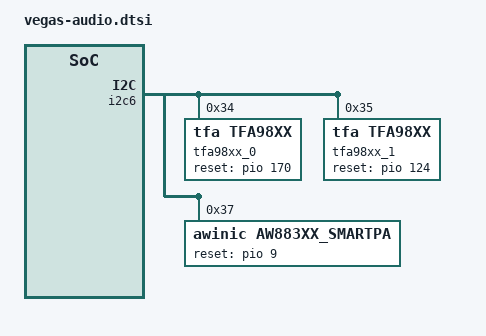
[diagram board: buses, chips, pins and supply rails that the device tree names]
/*
 * Copyright (c) 2019 MediaTek Inc.
 *
 * This program is free software; you can redistribute it and/or modify
 * it under the terms of the GNU General Public License version 2 as
 * published by the Free Software Foundation.
 *
 * This program is distributed in the hope that it will be useful,
 * but WITHOUT ANY WARRANTY; without even the implied warranty of
 * MERCHANTABILITY or FITNESS FOR A PARTICULAR PURPOSE.  See the
 * GNU General Public License for more details.
 */
&i2c6 {
	status = "ok";
	tfa98xx_0: tfa98xx@34 {
		compatible = "tfa,tfa98xx";
		reg = <0x34>;
		reset-gpio = <&pio 170 0>;
		reset-polarity = <1>;
	};
	tfa98xx_1: tfa98xx@35 {
		compatible = "tfa,tfa98xx";
		reg = <0x35>;
		reset-gpio = <&pio 124 0>;
		reset-polarity = <1>;
	};
	aw883xx_smartpa: aw883xx_smartpa@37 {
		compatible = "awinic,aw883xx_smartpa";
		#sound-dai-cells = <0>;
		reg = <0x37>;
		reset-gpio = <&pio 9 0>;
		/*irq-gpio = <&pio 37 0x0>;*/
		sync-load = <1>;
		sound-channel = <0>;
		re-min = <1000>;
		re-max= <40000>;
		status = "okay";
	};
};

&spk{
	status = "disabled";
};

&sound {
	mediatek,speaker-codec {
		sound-dai = <&tfa98xx_0 &tfa98xx_1 &aw883xx_smartpa>;
	};
};
